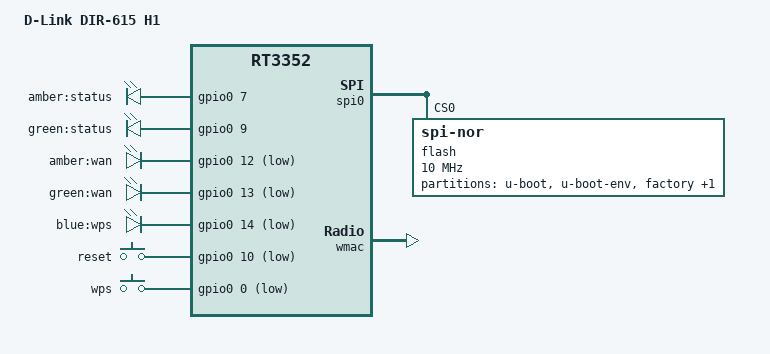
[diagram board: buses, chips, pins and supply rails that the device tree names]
#include "rt3352.dtsi"

#include <dt-bindings/gpio/gpio.h>
#include <dt-bindings/input/input.h>

/ {
	compatible = "dlink,dir-615-h1", "ralink,rt3352-soc";
	model = "D-Link DIR-615 H1";

	aliases {
		led-boot = &led_status_green;
		led-failsafe = &led_status_green;
		led-running = &led_status_green;
		led-upgrade = &led_status_green;
		label-mac-device = &wmac;
	};

	leds {
		compatible = "gpio-leds";

		status {
			label = "amber:status";
			gpios = <&gpio0 7 GPIO_ACTIVE_HIGH>;
		};

		led_status_green: status2 {
			label = "green:status";
			gpios = <&gpio0 9 GPIO_ACTIVE_HIGH>;
			default-state = "on";
		};

		wan {
			label = "amber:wan";
			gpios = <&gpio0 12 GPIO_ACTIVE_LOW>;
		};

		wan2 {
			label = "green:wan";
			gpios = <&gpio0 13 GPIO_ACTIVE_LOW>;
		};

		wps {
			label = "blue:wps";
			gpios = <&gpio0 14 GPIO_ACTIVE_LOW>;
		};
	};

	keys {
		compatible = "gpio-keys-polled";
		poll-interval = <20>;

		reset {
			label = "reset";
			gpios = <&gpio0 10 GPIO_ACTIVE_LOW>;
			linux,code = <KEY_RESTART>;
		};

		wps {
			label = "wps";
			gpios = <&gpio0 0 GPIO_ACTIVE_LOW>;
			linux,code = <KEY_WPS_BUTTON>;
		};
	};
};

&spi0 {
	status = "okay";

	flash@0 {
		compatible = "jedec,spi-nor";
		reg = <0>;
		spi-max-frequency = <10000000>;

		partitions {
			compatible = "fixed-partitions";
			#address-cells = <1>;
			#size-cells = <1>;

			partition@0 {
				label = "u-boot";
				reg = <0x0 0x30000>;
				read-only;
			};

			partition@30000 {
				label = "u-boot-env";
				reg = <0x30000 0x10000>;
				read-only;
			};

			factory: partition@40000 {
				label = "factory";
				reg = <0x40000 0x10000>;
				read-only;
			};

			partition@50000 {
				compatible = "denx,uimage";
				label = "firmware";
				reg = <0x50000 0x3b0000>;
			};
		};
	};
};

&state_default {
	gpio {
		groups = "i2c", "jtag", "uartf";
		function = "gpio";
	};
};

&ethernet {
	nvmem-cells = <&macaddr_factory_28>;
	nvmem-cell-names = "mac-address";
	pinctrl-names = "default";
	pinctrl-0 = <&rgmii_pins &mdio_pins>;
};

&esw {
	mediatek,portmap = <0x2f>;
};

&wmac {
	ralink,mtd-eeprom = <&factory 0x0>;
};

&factory {
	compatible = "nvmem-cells";
	#address-cells = <1>;
	#size-cells = <1>;

	macaddr_factory_28: macaddr@28 {
		reg = <0x28 0x6>;
	};
};
